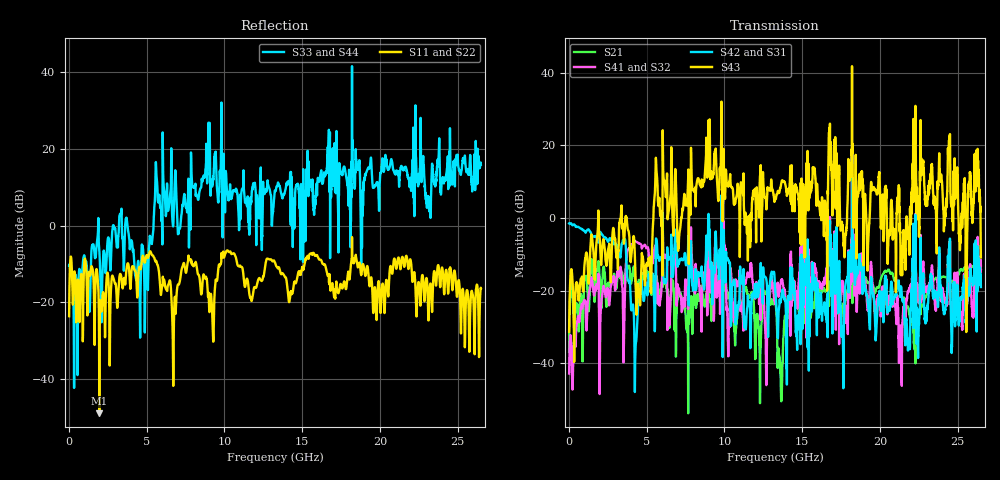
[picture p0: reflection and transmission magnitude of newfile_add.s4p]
! Created with skrf (http://scikit-rf.org).
# Hz S RI R 50.0
!freq ReS11 ImS11 ReS12 ImS12 ReS13 ImS13
! ReS14 ImS14
! ReS21 ImS21 ReS22 ImS22 ReS23 ImS23
! ReS24 ImS24
! ReS31 ImS31 ReS32 ImS32 ReS33 ImS33
! ReS34 ImS34
! ReS41 ImS41 ReS42 ImS42 ReS43 ImS43
! ReS44 ImS44
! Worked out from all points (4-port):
!   2650 points, 10 MHz to 26.5 GHz, reference 50 ohm
!   strongest paths, dB at 10 MHz, 6.63 GHz, 13.26 GHz, 19.88 GHz, 26.5 GHz:
!     S43: -31.3, 4.1, 5.6, 8.2, -10.9
!     S42: -1.5, -15.9, -19.5, -24.1, -19.0
!     S31: -1.5, -15.9, -19.5, -24.1, -19.0
!     S41: -42.8, -13.7, -23.7, -21.6, -13.1
!     S32: -42.8, -13.7, -23.7, -21.6, -13.1
!     S21: -36.9, -17.4, -22.2, -19.1, -14.1
!   lowest |S11| = -49.0 dB at 1.95 GHz (marker M1), VSWR 1.01, Z = 49.7 - j0.104 ohm
!   |S11| at or under -10 dB: 1.085 GHz to 3.756 GHz (2.671 GHz wide, 110 % of centre); 18.71 GHz to 20.87 GHz (2.153 GHz wide, 10.9 % of centre); 22.02 GHz to end of sweep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
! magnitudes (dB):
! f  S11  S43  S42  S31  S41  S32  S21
! 10 MHz  -23.6  -31.3  -1.5  -1.5  -42.8  -42.8  -36.9
! 1.95 GHz  -49.0  -4.1  -4.2  -4.2  -31.3  -31.3  -14.5
! 4.29 GHz  -12.1  -17.2  -35.2  -35.2  -6.5  -6.5  -18.4
! 8.94 GHz  -17.9  16.6  -4.6  -4.6  -8.8  -8.8  -20.6
! 13.62 GHz  -12.5  8.6  -23.2  -23.2  -17.6  -17.6  -45.1
! 14.38 GHz  -17.6  5.9  -17.5  -17.5  -21.3  -21.3  -21.3
! 26.5 GHz  -16.3  -10.9  -19.0  -19.0  -13.1  -13.1  -14.1
